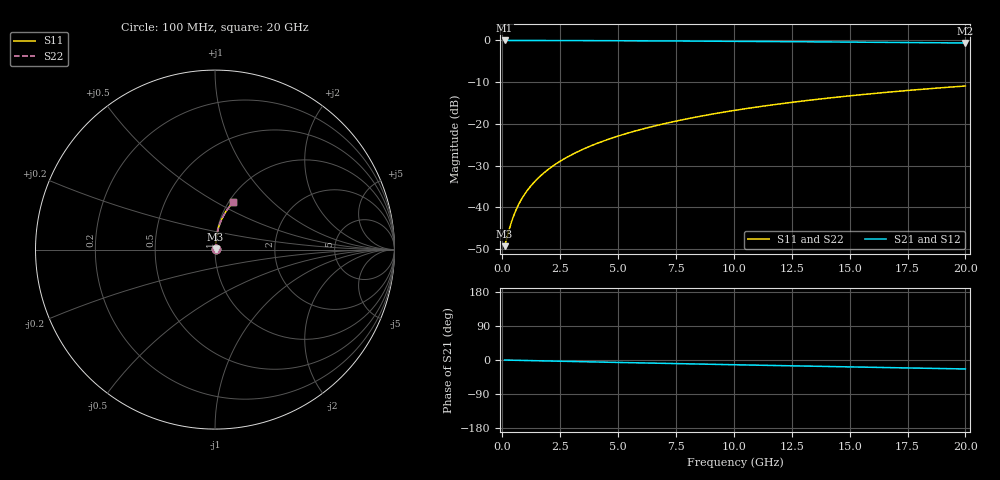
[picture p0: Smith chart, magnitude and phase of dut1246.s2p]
! Touchstone file exported from HFSS 2024.1.0
!  File:  C:/UserFiles/LocalFiles/RDL_TSV_Batchsim/temp_RDL_bottom_1246_1780245152.aedt
!  Generated:  12:35:30 AM Jun  1, 2026
!  Design:  RDL_bottom
!  Project:  temp_RDL_bottom_1246_1780245152
!  Setup:  Setup1
!  Solution:  Sweep
! Variables:
!  dtsv = 10.80580581um
!  hbump = 3um
!  htsv = 83.88um
!  ldown = 277.66um
!  lrdl = 100um
!  p = 40
!  p1 = 44.67um
!  rhole = 1um
!  t = 450um
!  tdown = 2.36um
!  trdl = 3.915915916um
!  wdown = 14.7um
!  wrdl = 20um
# GHz S MA R 50.000000
! Terminal data exported
! Port[1] = RDL1_T1
! Port[2] = RDL1_T2
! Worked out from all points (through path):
!   200 points, 100 MHz to 20 GHz, reference 50 ohm
!   highest |S21| = -0.03 dB at 100 MHz (marker M1); lowest = -0.6 dB at 20 GHz (marker M2)
!   group delay of S21, straight-line fit = 3.28 ps
!   lowest |S11| = -49.3 dB at 100 MHz (marker M3), VSWR 1.01, Z = 50.3 + j0.15 ohm
!   |S11| at or under -10 dB: start of sweep to end of sweep
!   |S22| runs from -49.3 to -10.9 dB; largest |S21 - S12| = 2.1e-15
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0.1  0.00343 25.8  0.9969 -0.1  0.9969 -0.1  0.00343 25.8
! Gamma 0 0 0 0
! Port Impedance 50 0 50 0
0.3  0.005469 54.4  0.9968 -0.4  0.9968 -0.4  0.005469 54.4
0.4  0.006737 61.1  0.9967 -0.5  0.9967 -0.5  0.006737 61.1
0.5  0.008055 65.6  0.9966 -0.7  0.9966 -0.7  0.008055 65.6
0.6  0.009396 68.8  0.9966 -0.8  0.9966 -0.8  0.009396 68.8
0.7  0.01075 71.1  0.9965 -0.9  0.9965 -0.9  0.01075 71.1
0.9  0.01347 74.4  0.9963 -1.2  0.9963 -1.2  0.01347 74.4
1.2  0.01759 77.5  0.996 -1.6  0.996 -1.6  0.01759 77.5
1.4  0.02035 78.8  0.9958 -1.8  0.9958 -1.8  0.02035 78.8
1.7  0.02451 80.2  0.9955 -2.2  0.9955 -2.2  0.02451 80.2
2.2  0.03149 81.7  0.9949 -2.9  0.9949 -2.9  0.03149 81.7
2.8  0.03994 82.6  0.994 -3.6  0.994 -3.6  0.03994 82.6
3.5  0.04987 83.1  0.9928 -4.5  0.9928 -4.5  0.04987 83.1
4.2  0.05987 83.2  0.9914 -5.4  0.9914 -5.4  0.05987 83.2
5  0.0714 83.1  0.9895 -6.4  0.9895 -6.4  0.07139 83.1
5.9  0.08445 82.7  0.9871 -7.6  0.9871 -7.6  0.08445 82.7
6.8  0.09759 82.2  0.9845 -8.7  0.9845 -8.7  0.09758 82.2
8.3  0.1196 81.1  0.9796 -10.5  0.9796 -10.5  0.1196 81.1
10.1  0.146 79.4  0.9731 -12.6  0.9731 -12.6  0.146 79.4
13.4  0.1939 76.0  0.96 -16.4  0.96 -16.4  0.1938 76.0
16.7  0.2401 72.4  0.9456 -20.1  0.9456 -20.1  0.24 72.4
20  0.2841 68.8  0.9302 -23.7  0.9302 -23.7  0.2841 68.8
